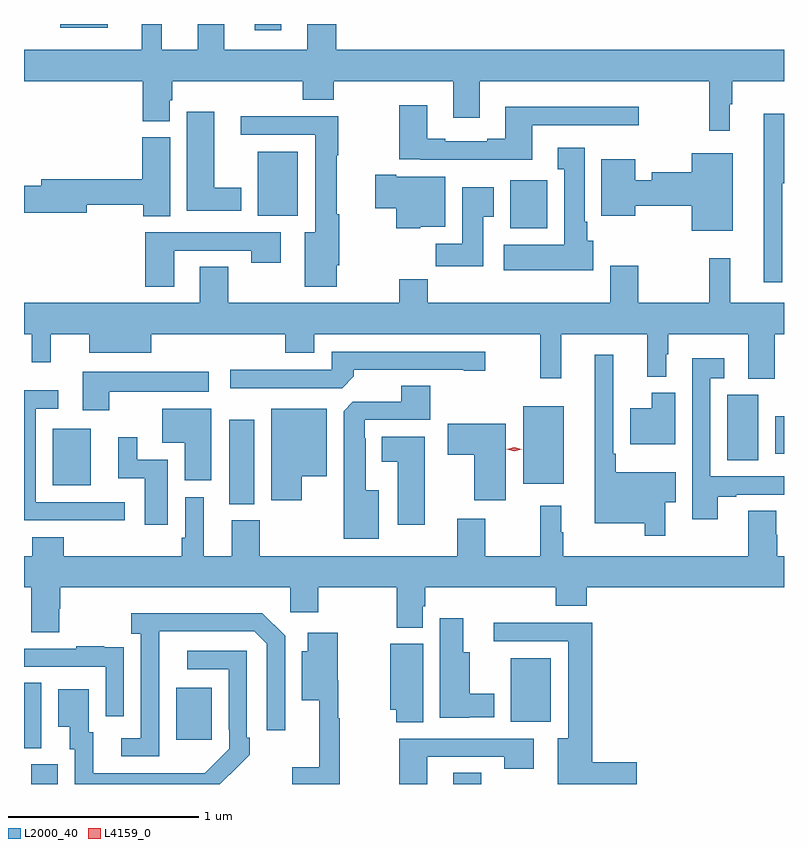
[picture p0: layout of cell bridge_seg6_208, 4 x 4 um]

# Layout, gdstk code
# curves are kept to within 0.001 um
import gdstk
lib = gdstk.Library(unit=1e-6, precision=1e-09)
def R(c, l, rs):  # rectangles x0, y0, x1, y1
    for r in rs: c.add(gdstk.rectangle(r[:2], r[2:], *l))
def P(c, l, *ps):  # polygons
    for p in ps: c.add(gdstk.Polygon(p, *l))
L2000_40 = (2000, 40)
L4159_0 = (4159, 0)

bridge_seg6_208 = lib.new_cell('bridge_seg6_208')
R(bridge_seg6_208, L2000_40, [(132.131,979.6,132.271,979.704), (134.351,979.6,134.499,979.658), (132.093,979.789,132.184,980.132), (132.893,979.833,133.081,980.107), (134.654,979.928,134.866,980.263), (133.172,981.073,133.306,981.517), (132.245,981.173,132.445,981.469), (134.72,981.179,134.935,981.589), (135.794,981.304,135.958,981.648), (136.046,981.339,136.093,981.535), (134.651,982.526,134.847,982.777), (133.322,982.592,133.534,982.927), (133.307,983.568,133.447,983.6), (132.284,983.579,132.535,983.6)])
P(bridge_seg6_208, L2000_40, [(133.007,983.6),(133.007,983.464),(132.817,983.464),(132.817,983.6),(132.713,983.6),(132.713,983.464),(132.093,983.464),(132.093,983.3),(132.719,983.3),(132.719,983.089),(132.859,983.089),(132.859,983.199),(132.872,983.199),(132.872,983.3),(133.559,983.3),(133.559,983.201),(133.724,983.201),(133.724,983.3),(134.351,983.3),(134.351,983.106),(134.491,983.106),(134.491,983.3),(135.699,983.3),(135.699,983.037),(135.808,983.037),(135.808,983.177),(135.82,983.177),(135.82,983.3),(136.093,983.3),(136.093,983.464),(133.736,983.464),(133.736,983.6),(133.583,983.6),(133.583,983.464),(133.147,983.464),(133.147,983.6)],
  [(134.767,983.067),(135.328,983.067),(135.328,983.164),(134.627,983.164),(134.627,982.996),(134.531,982.996),(134.531,982.983),(134.311,982.983),(134.311,982.996),(134.215,982.996),(134.215,983.173),(134.068,983.173),(134.068,982.887),(134.179,982.887),(134.179,982.886),(134.767,982.886)],
  [(133.237,982.738),(133.093,982.738),(133.093,983.137),(132.95,983.137),(132.95,982.616),(133.237,982.616)],
  [(136.083,982.763),(136.093,982.763),(136.093,983.128),(135.986,983.128),(135.986,982.242),(136.083,982.242)],
  [(133.738,982.33),(133.751,982.33),(133.751,982.6),(133.738,982.6),(133.738,982.909),(133.746,982.909),(133.746,983.114),(133.233,983.114),(133.233,983.016),(133.625,983.016),(133.625,982.504),(133.571,982.504),(133.571,982.218),(133.738,982.218)],
  [(132.862,983.004),(132.716,983.004),(132.716,982.784),(132.185,982.784),(132.185,982.748),(132.093,982.748),(132.093,982.606),(132.424,982.606),(132.424,982.648),(132.721,982.648),(132.721,982.588),(132.862,982.588)],
  [(135.088,982.458),(135.058,982.458),(135.058,982.558),(135.043,982.558),(135.043,982.948),(134.903,982.948),(134.903,982.835),(134.936,982.835),(134.936,982.438),(134.619,982.438),(134.619,982.304),(135.088,982.304)],
  [(135.823,982.921),(135.608,982.921),(135.608,982.819),(135.398,982.819),(135.398,982.777),(135.31,982.777),(135.31,982.888),(135.131,982.888),(135.131,982.592),(135.31,982.592),(135.31,982.643),(135.608,982.643),(135.608,982.511),(135.823,982.511)],
  [(134.178,982.532),(134.311,982.532),(134.311,982.795),(134.053,982.795),(134.053,982.807),(133.941,982.807),(133.941,982.63),(134.053,982.63),(134.053,982.526),(134.178,982.526)],
  [(134.509,982.585),(134.566,982.585),(134.566,982.741),(134.399,982.741),(134.399,982.444),(134.26,982.444),(134.26,982.326),(134.509,982.326)],
  [(132.883,982.407),(133.288,982.407),(133.288,982.344),(133.444,982.344),(133.444,982.503),(132.731,982.503),(132.731,982.218),(132.883,982.218)],
  [(136.045,981.968),(136.093,981.968),(136.093,982.132),(135.809,982.132),(135.809,982.366),(135.699,982.366),(135.699,982.132),(135.327,982.132),(135.327,982.327),(135.179,982.327),(135.179,982.132),(134.219,982.132),(134.219,982.256),(134.068,982.256),(134.068,982.132),(133.167,982.132),(133.167,982.322),(133.019,982.322),(133.019,982.132),(132.093,982.132),(132.093,981.968),(132.135,981.968),(132.135,981.819),(132.233,981.819),(132.233,981.968),(132.437,981.968),(132.437,981.869),(132.763,981.869),(132.763,981.968),(133.469,981.968),(133.469,981.869),(133.621,981.869),(133.621,981.968),(134.811,981.968),(134.811,981.735),(134.921,981.735),(134.921,981.968),(135.374,981.968),(135.374,981.743),(135.472,981.743),(135.472,981.861),(135.484,981.861),(135.484,981.968),(135.905,981.968),(135.905,981.733),(136.045,981.733)],
  [(133.829,981.746),(133.829,981.78),(134.408,981.78),(134.408,981.775),(134.521,981.775),(134.521,981.876),(133.713,981.876),(133.713,981.78),(133.179,981.78),(133.179,981.684),(133.767,981.684)],
  [(135.469,981.083),(135.523,981.083),(135.523,981.241),(135.208,981.241),(135.208,981.337),(135.195,981.337),(135.195,981.859),(135.098,981.859),(135.098,980.972),(135.36,980.972),(135.36,980.907),(135.469,980.907)],
  [(135.745,981.111),(135.841,981.111),(135.841,981.123),(136.093,981.123),(136.093,981.219),(135.705,981.219),(135.705,981.735),(135.778,981.735),(135.778,981.841),(135.609,981.841),(135.609,980.994),(135.745,980.994)],
  [(132.541,981.665),(133.066,981.665),(133.066,981.769),(132.401,981.769),(132.401,981.567),(132.541,981.567)],
  [(133.96,981.145),(133.891,981.145),(133.891,981.419),(133.887,981.419),(133.887,981.516),(134.231,981.516),(134.231,981.695),(134.078,981.695),(134.078,981.612),(133.824,981.612),(133.775,981.563),(133.775,980.891),(133.96,980.891)],
  [(132.622,981.084),(132.156,981.084),(132.156,981.576),(132.274,981.576),(132.274,981.673),(132.093,981.673),(132.093,980.988),(132.385,980.988),(132.385,980.987),(132.622,980.987)],
  [(135.52,981.658),(135.398,981.658),(135.398,981.577),(135.284,981.577),(135.284,981.389),(135.52,981.389)],
  [(133.555,981.221),(133.687,981.221),(133.687,981.574),(133.394,981.574),(133.394,981.093),(133.555,981.093)],
  [(133.078,981.574),(132.821,981.574),(132.821,981.395),(132.938,981.395),(132.938,981.198),(133.078,981.198)],
  [(134.629,981.496),(134.322,981.496),(134.322,981.334),(134.462,981.334),(134.462,981.093),(134.629,981.093)],
  [(134.203,981.427),(133.976,981.427),(133.976,981.296),(134.06,981.296),(134.06,980.964),(134.203,980.964)],
  [(132.85,981.306),(132.688,981.306),(132.688,981.424),(132.59,981.424),(132.59,981.21),(132.728,981.21),(132.728,980.964),(132.85,980.964)],
  [(134.891,980.537),(135.056,980.537),(135.056,980.636),(136.093,980.636),(136.093,980.8),(136.058,980.8),(136.058,980.913),(136.053,980.913),(136.053,981.038),(135.905,981.038),(135.905,980.8),(134.932,980.8),(134.932,980.924),(134.92,980.924),(134.92,981.064),(134.811,981.064),(134.811,980.8),(134.52,980.8),(134.52,980.995),(134.372,980.995),(134.372,980.8),(133.335,980.8),(133.335,980.988),(133.187,980.988),(133.187,980.8),(133.039,980.8),(133.039,981.109),(132.942,981.109),(132.942,980.896),(132.922,980.896),(132.922,980.8),(132.302,980.8),(132.302,980.899),(132.137,980.899),(132.137,980.8),(132.093,980.8),(132.093,980.636),(132.131,980.636),(132.131,980.398),(132.279,980.398),(132.279,980.523),(132.284,980.523),(132.284,980.636),(133.494,980.636),(133.494,980.505),(133.641,980.505),(133.641,980.636),(134.056,980.636),(134.056,980.423),(134.191,980.423),(134.191,980.535),(134.204,980.535),(134.204,980.636),(134.891,980.636)],
  [(132.804,980.203),(132.805,980.403),(133.305,980.403),(133.371,980.337),(133.371,979.884),(133.467,979.884),(133.467,980.379),(133.346,980.5),(132.657,980.5),(132.657,980.39),(132.708,980.39),(132.708,979.842),(132.606,979.842),(132.606,979.746),(132.804,979.746)],
  [(134.436,979.952),(134.569,979.952),(134.569,980.074),(134.44,980.074),(134.44,980.293),(134.404,980.293),(134.404,980.473),(134.282,980.473),(134.282,979.949),(134.436,979.949)],
  [(135.319,979.715),(135.083,979.715),(135.083,980.45),(134.565,980.45),(134.565,980.352),(134.957,980.352),(134.957,979.84),(134.903,979.84),(134.903,979.6),(135.319,979.6)],
  [(133.756,979.946),(133.748,979.946),(133.748,980.146),(133.744,980.146),(133.744,980.395),(133.586,980.395),(133.586,980.299),(133.556,980.299),(133.556,980.042),(133.646,980.042),(133.646,979.687),(133.506,979.687),(133.506,979.6),(133.756,979.6)],
  [(134.194,980.338),(134.021,980.338),(134.021,979.991),(134.053,979.991),(134.053,979.924),(134.194,979.924)],
  [(132.618,980.21),(132.617,980.21),(132.617,980.319),(132.515,980.319),(132.515,980.326),(132.367,980.326),(132.367,980.313),(132.093,980.313),(132.093,980.217),(132.522,980.217),(132.522,979.956),(132.618,979.956)],
  [(133.175,979.651),(133.176,979.65),(133.281,979.755),(133.281,979.843),(133.266,979.843),(133.266,980.301),(132.951,980.301),(132.951,980.205),(133.17,980.205),(133.17,979.885),(133.173,979.885),(133.173,979.785),(133.045,979.657),(132.457,979.656),(132.457,979.872),(132.433,979.872),(132.433,980.098),(132.272,980.098),(132.272,979.901),(132.335,979.901),(132.335,979.782),(132.36,979.782),(132.36,979.6),(133.124,979.6)],
  [(134.215,979.743),(134.62,979.743),(134.62,979.68),(134.776,979.68),(134.776,979.839),(134.068,979.839),(134.068,979.6),(134.215,979.6)])
P(bridge_seg6_208, L4159_0, [(134.674,981.352),(134.634,981.361),(134.634,981.361),(134.634,981.361),(134.674,981.372),(134.714,981.363),(134.714,981.362),(134.714,981.362)])

lib.write_gds('bridge_seg6_208.gds')
